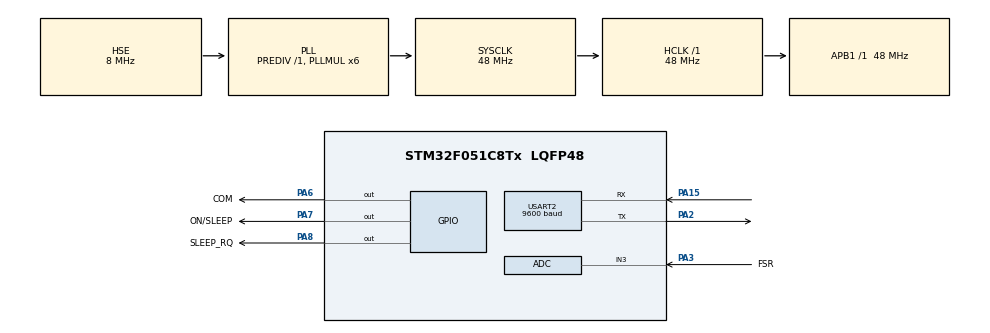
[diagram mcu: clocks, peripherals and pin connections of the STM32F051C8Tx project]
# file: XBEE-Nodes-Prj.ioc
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ADC.ClockPrescaler=ADC_CLOCK_ASYNC_DIV1
ADC.ContinuousConvMode=DISABLE
ADC.DMAContinuousRequests=DISABLE
ADC.DataAlign=ADC_DATAALIGN_RIGHT
ADC.DiscontinuousConvMode=DISABLE
ADC.EOCSelection=ADC_EOC_SINGLE_CONV
ADC.EnableAnalogWatchDog=false
ADC.ExternalTrigConv=ADC_SOFTWARE_START
ADC.ExternalTrigConvEdge=ADC_EXTERNALTRIGCONVEDGE_NONE
ADC.LowPowerAutoPowerOff=DISABLE
ADC.LowPowerAutoWait=DISABLE
ADC.Overrun=ADC_OVR_DATA_PRESERVED
ADC.Resolution=ADC_RESOLUTION_12B
ADC.SamplingTime=ADC_SAMPLETIME_1CYCLE_5
ADC.ScanConvMode=ADC_SCAN_DIRECTION_FORWARD
Mcu.Family=STM32F0
Mcu.Name=STM32F051C8Tx
Mcu.Package=LQFP48
PA15.Mode=Asynchronous
PA15.Signal=USART2_RX
PA2.Mode=Asynchronous
PA2.Signal=USART2_TX
PA3.GPIO_Label=FSR
PA3.Mode=IN3
PA3.Signal=ADC_IN3
PA6.GPIO_Label=COM
PA6.Signal=GPIO_Output
PA7.GPIO_Label=ON/SLEEP
PA7.Signal=GPIO_Output
PA8.GPIO_Label=SLEEP_RQ
PA8.Signal=GPIO_Output
PF0-OSC_IN.Mode=HSE-External-Oscillator
PF0-OSC_IN.Signal=RCC_OSC_IN
PF1-OSC_OUT.Mode=HSE-External-Oscillator
PF1-OSC_OUT.Signal=RCC_OSC_OUT
ProjectManager.HeapSize=0x200
ProjectManager.StackSize=0x400
ProjectManager.TargetToolchain=MDK-ARM V5
RCC.AHBFreq_Value=48000000
RCC.APB1Freq_Value=48000000
RCC.APB1TimFreq_Value=48000000
RCC.HCLKFreq_Value=48000000
RCC.PLLMUL=RCC_PLL_MUL6
RCC.PLLSourceVirtual=RCC_PLLSOURCE_HSE
RCC.SYSCLKFreq_VALUE=48000000
RCC.SYSCLKSource=RCC_SYSCLKSOURCE_PLLCLK
USART2.BaudRate=9600
USART2.VirtualMode-Asynchronous=VM_ASYNC
board=XBEE-Nodes-Prj

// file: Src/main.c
/**
  ******************************************************************************
  * File Name          : main.c
  * Description        : Main program body
  ******************************************************************************
  ** This notice applies to any and all portions of this file
  * that are not between comment pairs USER CODE BEGIN and
  * USER CODE END. Other portions of this file, whether
  * inserted by the user or by software development tools
  * are owned by their respective copyright owners.
  *
  * COPYRIGHT(c) 2017 STMicroelectronics
  *
  * Redistribution and use in source and binary forms, with or without modification,
  * are permitted provided that the following conditions are met:
  *   1. Redistributions of source code must retain the above copyright notice,
  *      this list of conditions and the following disclaimer.
  *   2. Redistributions in binary form must reproduce the above copyright notice,
  *      this list of conditions and the following disclaimer in the documentation
  *      and/or other materials provided with the distribution.
  *   3. Neither the name of STMicroelectronics nor the names of its contributors
  *      may be used to endorse or promote products derived from this software
  *      without specific prior written permission.
  *
  * THIS SOFTWARE IS PROVIDED BY THE COPYRIGHT HOLDERS AND CONTRIBUTORS "AS IS"
  * AND ANY EXPRESS OR IMPLIED WARRANTIES, INCLUDING, BUT NOT LIMITED TO, THE
  * IMPLIED WARRANTIES OF MERCHANTABILITY AND FITNESS FOR A PARTICULAR PURPOSE ARE
  * DISCLAIMED. IN NO EVENT SHALL THE COPYRIGHT HOLDER OR CONTRIBUTORS BE LIABLE
  * FOR ANY DIRECT, INDIRECT, INCIDENTAL, SPECIAL, EXEMPLARY, OR CONSEQUENTIAL
  * DAMAGES (INCLUDING, BUT NOT LIMITED TO, PROCUREMENT OF SUBSTITUTE GOODS OR
  * SERVICES; LOSS OF USE, DATA, OR PROFITS; OR BUSINESS INTERRUPTION) HOWEVER
  * CAUSED AND ON ANY THEORY OF LIABILITY, WHETHER IN CONTRACT, STRICT LIABILITY,
  * OR TORT (INCLUDING NEGLIGENCE OR OTHERWISE) ARISING IN ANY WAY OUT OF THE USE
  * OF THIS SOFTWARE, EVEN IF ADVISED OF THE POSSIBILITY OF SUCH DAMAGE.
  *
  ******************************************************************************
  */
#include "main.h"
#include "stm32f0xx_hal.h"
#include "adc.h"
#include "usart.h"
#include "gpio.h"

/* USER CODE BEGIN Includes */
#include "XBEE.h"
/* USER CODE END Includes */

/* USER CODE BEGIN PV */
/* Private variables ---------------------------------------------------------*/
#define filterWindowLength 30
__IO uint16_t ConvValue = 0;
uint16_t filteredValue;
transmit_frame frame;
transmit_frame* frame_ptr;
uint8_t data[6];
enum NODE_TYPE node_type = fsr;
uint8_t node_num = 0x31;
/* USER CODE END PV */

uint16_t moving_average(uint16_t);
void SystemClock_Config(void);

/* USER CODE BEGIN PFP */

/* Private function prototypes -----------------------------------------------*/

/* USER CODE END PFP */

int main(void)
{

  /* MCU Configuration----------------------------------------------------------*/

  /* Reset of all peripherals, Initializes the Flash interface and the Systick. */
  HAL_Init();

  /* Configure the system clock */
  SystemClock_Config();

  /* Initialize all configured peripherals */
  MX_GPIO_Init();
  MX_ADC_Init();
  MX_USART2_UART_Init();

  /* USER CODE BEGIN 2 */
	frame_ptr = &frame;
	frame_ptr->frame_id = 0x01;
	//64 bit address
	frame_ptr->addr64[0] = 0x00;
	frame_ptr->addr64[1] = 0x13;
	frame_ptr->addr64[2] = 0xA2;
	frame_ptr->addr64[3] = 0x00;
	frame_ptr->addr64[4] = 0x41;
	frame_ptr->addr64[5] = 0x47;
	frame_ptr->addr64[6] = 0x2F;
	frame_ptr->addr64[7] = 0xB8;
	//16 bit address
	frame_ptr->addr16[0] = 0xFF;
	frame_ptr->addr16[1] = 0xFE;
	frame_ptr->brdcast_rad = 0x00;
	frame_ptr->opt = 0x00;
  /* USER CODE END 2 */

  /* Infinite loop */
  while (1)
  {

  /* USER CODE BEGIN 3 */
		for(uint8_t i=0 ; i < 250 ; i++)
		{
			HAL_ADC_Start(&hadc);
			HAL_ADC_PollForConversion(&hadc, 200);
			ConvValue = (uint16_t)HAL_ADC_GetValue(&hadc);
			HAL_ADC_Stop(&hadc);
			filteredValue = moving_average(ConvValue);
		}
		frame_generator(data, sizeof(data), node_type, node_num, filteredValue);
		HAL_GPIO_WritePin(SLEEP_RQ_GPIO_Port, SLEEP_RQ_Pin, GPIO_PIN_RESET);
		HAL_Delay(500);
		if(transmit_rq(frame_ptr, data, sizeof(data), &huart2) != HAL_OK)
		{
			Error_Handler();
		}
		HAL_GPIO_WritePin(SLEEP_RQ_GPIO_Port, SLEEP_RQ_Pin, GPIO_PIN_SET);
		HAL_Delay(2000);
  }
  /* USER CODE END 3 */

}

/** System Clock Configuration
*/
void SystemClock_Config(void)
{

  RCC_OscInitTypeDef RCC_OscInitStruct;
  RCC_ClkInitTypeDef RCC_ClkInitStruct;

    /**Initializes the CPU, AHB and APB busses clocks
    */
  RCC_OscInitStruct.OscillatorType = RCC_OSCILLATORTYPE_HSI14|RCC_OSCILLATORTYPE_HSE;
  RCC_OscInitStruct.HSEState = RCC_HSE_ON;
  RCC_OscInitStruct.HSIState = RCC_HSI_ON;
  RCC_OscInitStruct.HSI14State = RCC_HSI14_ON;
  RCC_OscInitStruct.HSI14CalibrationValue = 16;
  RCC_OscInitStruct.PLL.PLLState = RCC_PLL_ON;
  RCC_OscInitStruct.PLL.PLLSource = RCC_PLLSOURCE_HSE;
  RCC_OscInitStruct.PLL.PLLMUL = RCC_PLL_MUL6;
  RCC_OscInitStruct.PLL.PREDIV = RCC_PREDIV_DIV1;
  if (HAL_RCC_OscConfig(&RCC_OscInitStruct) != HAL_OK)
  {
    _Error_Handler(__FILE__, __LINE__);
  }

    /**Initializes the CPU, AHB and APB busses clocks
    */
  RCC_ClkInitStruct.ClockType = RCC_CLOCKTYPE_HCLK|RCC_CLOCKTYPE_SYSCLK
                              |RCC_CLOCKTYPE_PCLK1;
  RCC_ClkInitStruct.SYSCLKSource = RCC_SYSCLKSOURCE_PLLCLK;
  RCC_ClkInitStruct.AHBCLKDivider = RCC_SYSCLK_DIV1;
  RCC_ClkInitStruct.APB1CLKDivider = RCC_HCLK_DIV1;

  if (HAL_RCC_ClockConfig(&RCC_ClkInitStruct, FLASH_LATENCY_1) != HAL_OK)
  {
    _Error_Handler(__FILE__, __LINE__);
  }

    /**Configure the Systick interrupt time
    */
  HAL_SYSTICK_Config(HAL_RCC_GetHCLKFreq()/1000);

    /**Configure the Systick
    */
  HAL_SYSTICK_CLKSourceConfig(SYSTICK_CLKSOURCE_HCLK);

  /* SysTick_IRQn interrupt configuration */
  HAL_NVIC_SetPriority(SysTick_IRQn, 0, 0);
}

/* USER CODE BEGIN 4 */
/**
  * @brief  This function filters data
	* @param  sensor_value : input raw sensor data
  * @retval None
  */
uint16_t moving_average(uint16_t sensor_value)
{
  static float history[filterWindowLength];
	float filtered_value = 0;

  for(uint8_t i=1 ; i < filterWindowLength ; i++){
    history[i-1] = history[i];
		filtered_value += history[i-1];
  }

  history[filterWindowLength - 1] = sensor_value;
  filteredValue += sensor_value;
  filtered_value /= (float)filterWindowLength;

  return (uint16_t)filtered_value;
}

/* USER CODE END 4 */

void _Error_Handler(char * file, int line)
{
  /* USER CODE BEGIN Error_Handler_Debug */
  /* User can add his own implementation to report the HAL error return state */
  while(1)
  {
		HAL_GPIO_TogglePin(ON_SLEEP_GPIO_Port, ON_SLEEP_Pin);
		HAL_Delay(500);
  }
  /* USER CODE END Error_Handler_Debug */
}

/************************ (C) COPYRIGHT STMicroelectronics *****END OF FILE****/
